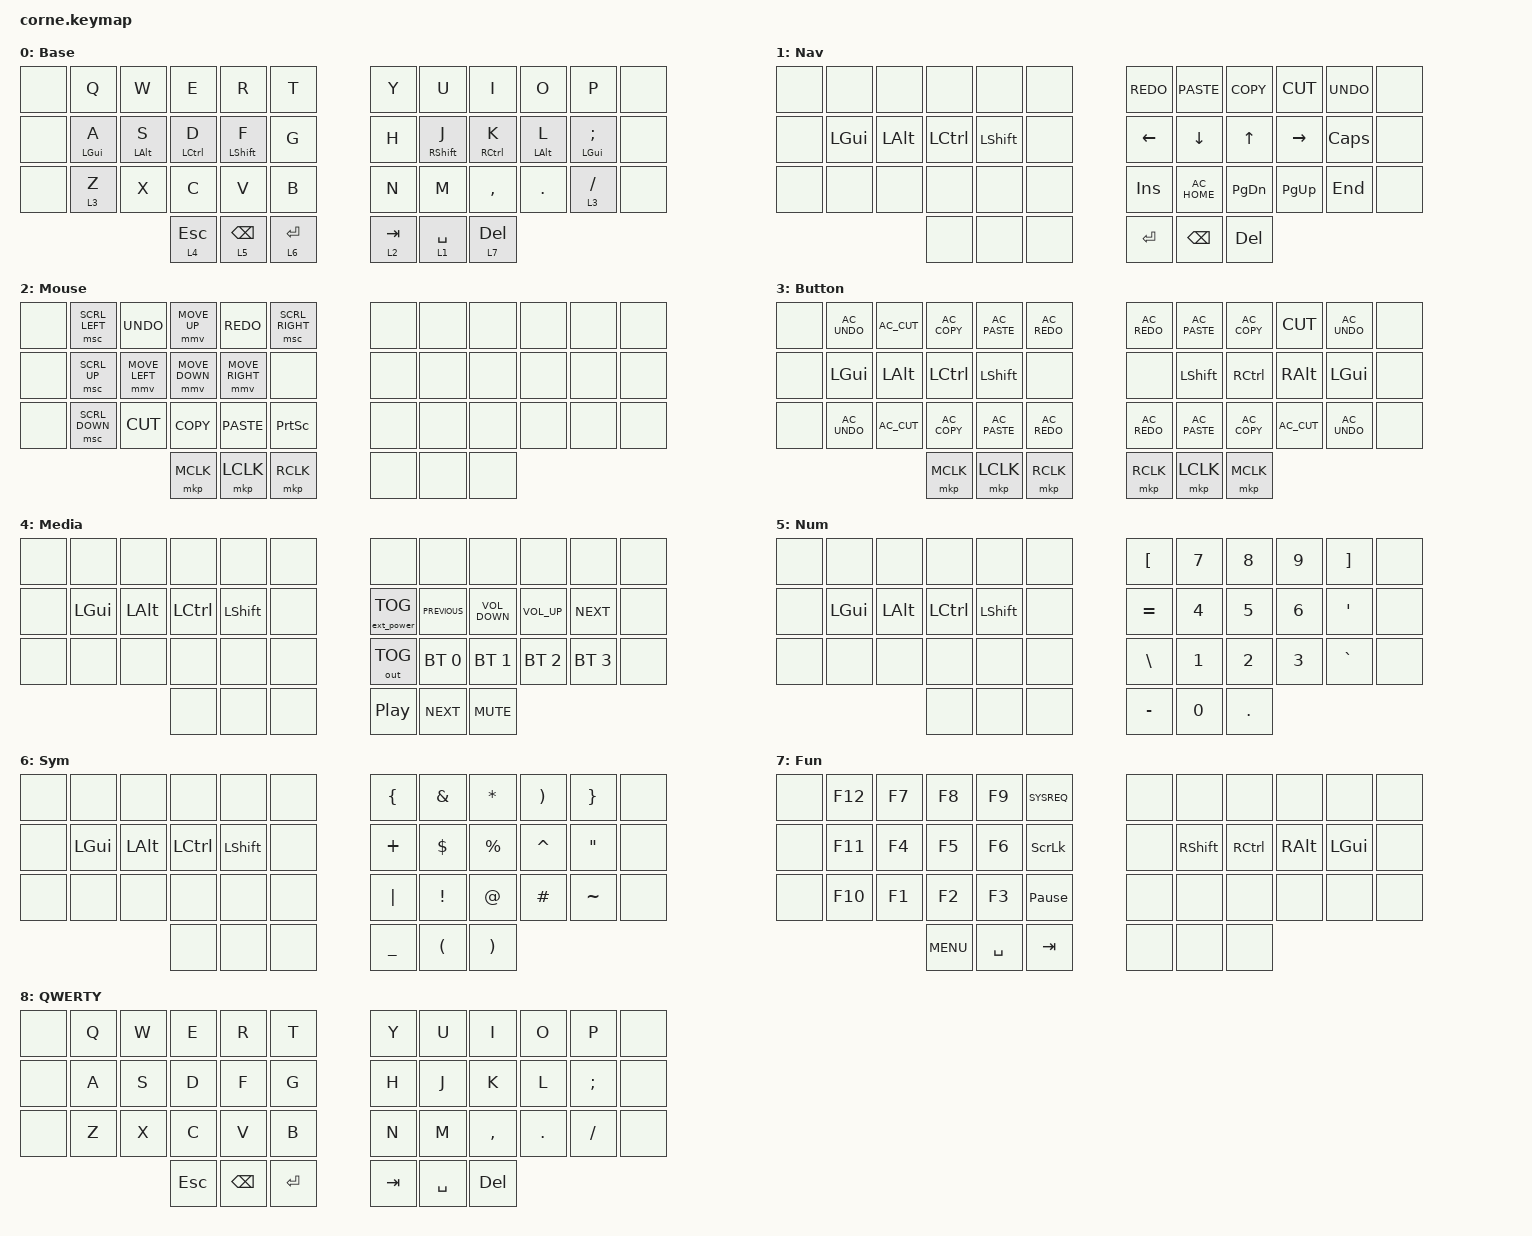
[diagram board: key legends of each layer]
/*
 * Copyright (c) 2020 The ZMK Contributors
 *
 * SPDX-License-Identifier: MIT
 */

#define ZMK_POINTING_DEFAULT_MOVE_VAL 1800
#define ZMK_POINTING_DEFAULT_SCRL_VAL 20

#include <behaviors.dtsi>
#include <dt-bindings/zmk/bt.h>
#include <dt-bindings/zmk/ext_power.h>
#include <dt-bindings/zmk/keys.h>
#include <dt-bindings/zmk/outputs.h>
#include <dt-bindings/zmk/pointing.h>

/ {
    behaviors {
        hml: homewrow_mods_left {
            compatible = "zmk,behavior-hold-tap";
            label = "HOMEROW_MODS_LEFT_HAND";
            bindings = <&kp>, <&kp>;

            #binding-cells = <2>;
            tapping-term-ms = <165>;
            hold-trigger-key-positions = <39 40 41 19 30 18 6 9 20 32 31 7 8 21 33 34 35 22 23 11 10>;
            flavor = "tap-preferred";
        };

        hmr: homewrow_mods_right {
            compatible = "zmk,behavior-hold-tap";
            label = "HOMEROW_MODS_RIGHT_HAND";
            bindings = <&kp>, <&kp>;

            #binding-cells = <2>;
            tapping-term-ms = <165>;
            hold-trigger-key-positions = <0 0 1 1 2 2 16 28 37 38 29 17 4 4 5 3 14 12 13 27 15 26 25 24 36>;
            flavor = "tap-preferred";
        };
    };

    combos {
        compatible = "zmk,combos";

        combo_qwerty {
            timeout-ms = <80>;
            key-positions = <4 5 6 7>;
            bindings = <&to 8>;
            layers = <0>;
            require-prior-idle-ms = <150>;
        };

        combo_base {
            timeout-ms = <80>;
            key-positions = <4 5 6 7>;
            bindings = <&to 0>;
            layers = <8>;
            require-prior-idle-ms = <150>;
        };
    };

    keymap {
        compatible = "zmk,keymap";

        base_layer {
            // -----------------------------------------------------------------------------------------
            // |  TAB |  Q  |  W  |  E  |  R  |  T  |   |  Y  |  U   |  I  |  O  |  P  | BKSP |
            // | CTRL |  A  |  S  |  D  |  F  |  G  |   |  H  |  J   |  K  |  L  |  ;  |  '   |
            // | SHFT |  Z  |  X  |  C  |  V  |  B  |   |  N  |  M   |  ,  |  .  |  /  | ESC  |
            //                    | GUI | LWR | SPC |   | ENT | RSE  | ALT |

            bindings = <
&none  &kp Q        &kp W            &kp E         &kp R              &kp T          &kp Y      &kp U               &kp I         &kp O        &kp P           &none
&none  &hml LGUI A  &hml LEFT_ALT S  &hml LCTRL D  &hml LEFT_SHIFT F  &kp G          &kp H      &hmr RIGHT_SHIFT J  &hmr RCTRL K  &hmr LALT L  &hmr LGUI SEMI  &none
&none  &lt 3 Z      &kp X            &kp C         &kp V              &kp B          &kp N      &kp M               &kp COMMA     &kp DOT      &lt 3 SLASH     &none
                                     &lt 4 ESC     &lt 5 BACKSPACE    &lt 6 ENTER    &lt 2 TAB  &lt 1 SPACE         &lt 7 DELETE
            >;

            label = "Base";
        };

        nav_layer {
            bindings = <
&none  &none     &none         &none      &none           &none    &kp K_REDO  &kp K_PASTE    &kp K_COPY     &kp K_CUT    &kp K_UNDO  &none
&none  &kp LGUI  &kp LEFT_ALT  &kp LCTRL  &kp LEFT_SHIFT  &none    &kp LEFT    &kp DOWN       &kp UP_ARROW   &kp RIGHT    &kp CAPS    &none
&none  &none     &none         &none      &none           &none    &kp INSERT  &kp C_AC_HOME  &kp PAGE_DOWN  &kp PAGE_UP  &kp END     &none
                               &none      &none           &none    &kp ENTER   &kp BACKSPACE  &kp DELETE
            >;

            label = "Nav";
        };

        mouse_layer {
            // -----------------------------------------------------------------------------------------
            // |  TAB |  1  |  2  |  3  |  4  |  5  |   |  6  |  7  |  8  |  9  |  0  | BKSP |
            // | BTCLR| BT1 | BT2 | BT3 | BT4 | BT5 |   | LFT | DWN |  UP | RGT |     |      |
            // | SHFT |     |     |     |     |     |   |     |     |     |     |     |      |
            //                    | GUI |     | SPC |   | ENT |     | ALT |

            bindings = <
&none  &msc SCRL_LEFT  &kp K_UNDO      &mmv MOVE_UP    &kp K_REDO       &msc SCRL_RIGHT    &none  &none  &none  &none  &none  &none
&none  &msc SCRL_UP    &mmv MOVE_LEFT  &mmv MOVE_DOWN  &mmv MOVE_RIGHT  &none              &none  &none  &none  &none  &none  &none
&none  &msc SCRL_DOWN  &kp K_CUT       &kp K_COPY      &kp K_PASTE      &kp PRINTSCREEN    &none  &none  &none  &none  &none  &none
                                       &mkp MCLK       &mkp LCLK        &mkp RCLK          &none  &none  &none
            >;

            label = "Mouse";
        };

        button_layer {
            bindings = <
&none  &kp C_AC_UNDO  &kp C_AC_CUT  &kp C_AC_COPY  &kp C_AC_PASTE  &kp C_AC_REDO    &kp C_AC_REDO  &kp C_AC_PASTE  &kp C_AC_COPY      &kp K_CUT     &kp C_AC_UNDO  &none
&none  &kp LGUI       &kp LALT      &kp LCTRL      &kp LSHFT       &none            &none          &kp LSHFT       &kp RIGHT_CONTROL  &kp RALT      &kp LGUI       &none
&none  &kp C_AC_UNDO  &kp C_AC_CUT  &kp C_AC_COPY  &kp C_AC_PASTE  &kp C_AC_REDO    &kp C_AC_REDO  &kp C_AC_PASTE  &kp C_AC_COPY      &kp C_AC_CUT  &kp C_AC_UNDO  &none
                                    &mkp MCLK      &mkp LCLK       &mkp RCLK        &mkp RCLK      &mkp LCLK       &mkp MCLK
            >;

            label = "Button";
        };

        media_layer {
            // -----------------------------------------------------------------------------------------
            // |  TAB |  !  |  @  |  #  |  $  |  %  |   |  ^  |  &  |  *  |  (  |  )  | BKSP |
            // | CTRL |     |     |     |     |     |   |  -  |  =  |  [  |  ]  |  \  |  `   |
            // | SHFT |     |     |     |     |     |   |  _  |  +  |  {  |  }  | "|" |  ~   |
            //                    | GUI |     | SPC |   | ENT |     | ALT |

            bindings = <
&none  &none     &none         &none      &none           &none    &none              &none           &none              &none            &none         &none
&none  &kp LGUI  &kp LEFT_ALT  &kp LCTRL  &kp LEFT_SHIFT  &none    &ext_power EP_TOG  &kp C_PREVIOUS  &kp C_VOLUME_DOWN  &kp C_VOLUME_UP  &kp C_NEXT    &none
&none  &none     &none         &none      &none           &none    &out OUT_TOG       &bt BT_SEL 0    &bt BT_SEL 1       &bt BT_SEL 2     &bt BT_SEL 3  &none
                               &none      &none           &none    &kp C_PLAY_PAUSE   &kp C_NEXT      &kp K_MUTE
            >;

            label = "Media";
        };

        num_layer {
            bindings = <
&none  &none         &none         &none      &none           &none    &kp LEFT_BRACKET  &kp NUMBER_7  &kp NUMBER_8  &kp NUMBER_9  &kp RIGHT_BRACKET  &none
&none  &kp LEFT_GUI  &kp LEFT_ALT  &kp LCTRL  &kp LEFT_SHIFT  &none    &kp EQUAL         &kp NUMBER_4  &kp N5        &kp NUMBER_6  &kp APOS           &none
&none  &none         &none         &none      &none           &none    &kp BACKSLASH     &kp NUMBER_1  &kp NUMBER_2  &kp NUMBER_3  &kp GRAVE          &none
                                   &none      &none           &none    &kp MINUS         &kp NUMBER_0  &kp PERIOD
            >;

            label = "Num";
        };

        sym_layer {
            bindings = <
&none  &none     &none     &none      &none           &none    &kp LEFT_BRACE  &kp AMPS              &kp STAR               &kp RIGHT_PARENTHESIS  &kp RIGHT_BRACE    &none
&none  &kp LGUI  &kp LALT  &kp LCTRL  &kp LEFT_SHIFT  &none    &kp PLUS        &kp DOLLAR            &kp PERCENT            &kp CARET              &kp DOUBLE_QUOTES  &none
&none  &none     &none     &none      &none           &none    &kp PIPE        &kp EXCL              &kp AT_SIGN            &kp HASH               &kp TILDE          &none
                           &none      &none           &none    &kp UNDERSCORE  &kp LEFT_PARENTHESIS  &kp RIGHT_PARENTHESIS
            >;

            label = "Sym";
        };

        fun_layer {
            bindings = <
&none  &kp F12  &kp F7  &kp F8      &kp F9     &kp SYSREQ         &none  &none            &none      &none          &none     &none
&none  &kp F11  &kp F4  &kp F5      &kp F6     &kp SCROLLLOCK     &none  &kp RIGHT_SHIFT  &kp RCTRL  &kp RIGHT_ALT  &kp LGUI  &none
&none  &kp F10  &kp F1  &kp F2      &kp F3     &kp PAUSE_BREAK    &none  &none            &none      &none          &none     &none
                        &kp C_MENU  &kp SPACE  &kp TAB            &none  &none            &none
            >;

            label = "Fun";
        };

        qwerty_layer {
            bindings = <
&none  &kp Q  &kp W  &kp E    &kp R          &kp T        &kp Y    &kp U      &kp I       &kp O    &kp P      &none
&none  &kp A  &kp S  &kp D    &kp F          &kp G        &kp H    &kp J      &kp K       &kp L    &kp SEMI   &none
&none  &kp Z  &kp X  &kp C    &kp V          &kp B        &kp N    &kp M      &kp COMMA   &kp DOT  &kp SLASH  &none
                     &kp ESC  &kp BACKSPACE  &kp ENTER    &kp TAB  &kp SPACE  &kp DELETE
            >;

            label = "QWERTY";
        };
    };
};
